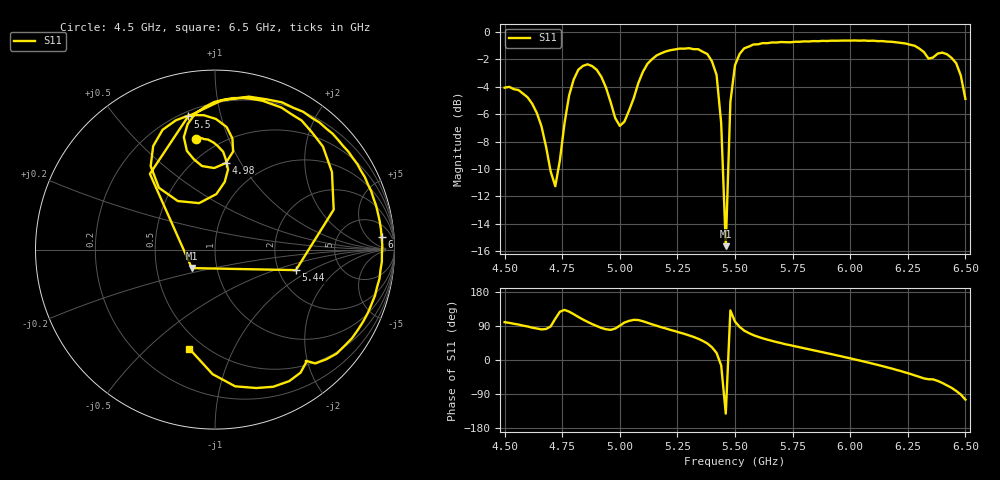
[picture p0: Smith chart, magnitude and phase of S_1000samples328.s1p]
! TOUCHSTONE file generated by CST MICROWAVE STUDIO
! Date and time: Thu Oct 27 19:17:58 2022
! Project name: L.cst
! Parameters = {Di=1.27; Epsilon_r=1.56; InnerDiameter=1.27; Length=2; Lf=10; Lg=60; OuterConductorThickness=0.2921; OuterDiameter=3.6; Wf=3; Wp=41.2; de=1.5; df=6.8; g=0.8; gx=0.9745; gy=3.10512; h=2.34; hf=1.524; px=14.9491; py=13.261; w=9.7; wx=13.9746; wy=10.1559}
! Header version: 2018
! Port assignment regex: !\s*Touchstone port\s*([0-9]+)\s*=\s*(CST MWS port|CST DS port)\s*([0-9]+|Zmin|Zmax)\s*\(\"(.*)\"\)(\s*mode\s*([0-9]+))?.*
! Touchstone port assignment:
! Touchstone port 1 = CST MWS port 1 ("")
# GHz S DB R 50
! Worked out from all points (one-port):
!   101 points, 4.5 GHz to 6.5 GHz, reference 50 ohm
!   lowest |S11| = -15.6 dB at 5.46 GHz (marker M1), VSWR 1.40, Z = 37.8 - j8.01 ohm
!   |S11| at or under -10 dB: 4.698 GHz to 4.733 GHz (35.28 MHz wide, 0.748 % of centre); 5.447459 GHz to 5.470692 GHz (23.23 MHz wide, 0.426 % of centre)
!   S11 on the Smith chart (normalised r, x): 4.5 GHz: 0.38, +0.77; 4.98 GHz: 0.68, +0.86; 5.44 GHz: 2.49, -0.73; 5.5 GHz: 0.23, +0.79; 6 GHz: 13, +14; 6.5 GHz: 0.42, -0.68
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4.5  -4.06 99.9
4.66  -6.88 80.7
4.72  -11.26 108.9
4.76  -6.66 132.2
4.8  -3.46 120.8
4.86  -2.35 100.7
4.92  -3.27 84.6
4.98  -6.28 82.9
5  -6.85 90.6
5.08  -3.74 105.5
5.16  -1.70 90.4
5.26  -1.21 72.4
5.38  -1.60 43.6
5.42  -3.13 18.6
5.44  -6.65 -14.2
5.46  -15.64 -141.5
5.48  -5.09 130.7
5.5  -2.42 101.4
5.54  -1.18 77.5
5.58  -0.90 65.6
5.76  -0.71 36.3
6  -0.62 4.4
6.14  -0.65 -16.1
6.26  -0.92 -36.5
6.38  -1.57 -55.2
6.44  -1.88 -73.3
6.48  -3.17 -91.1
6.5  -4.88 -104.6
